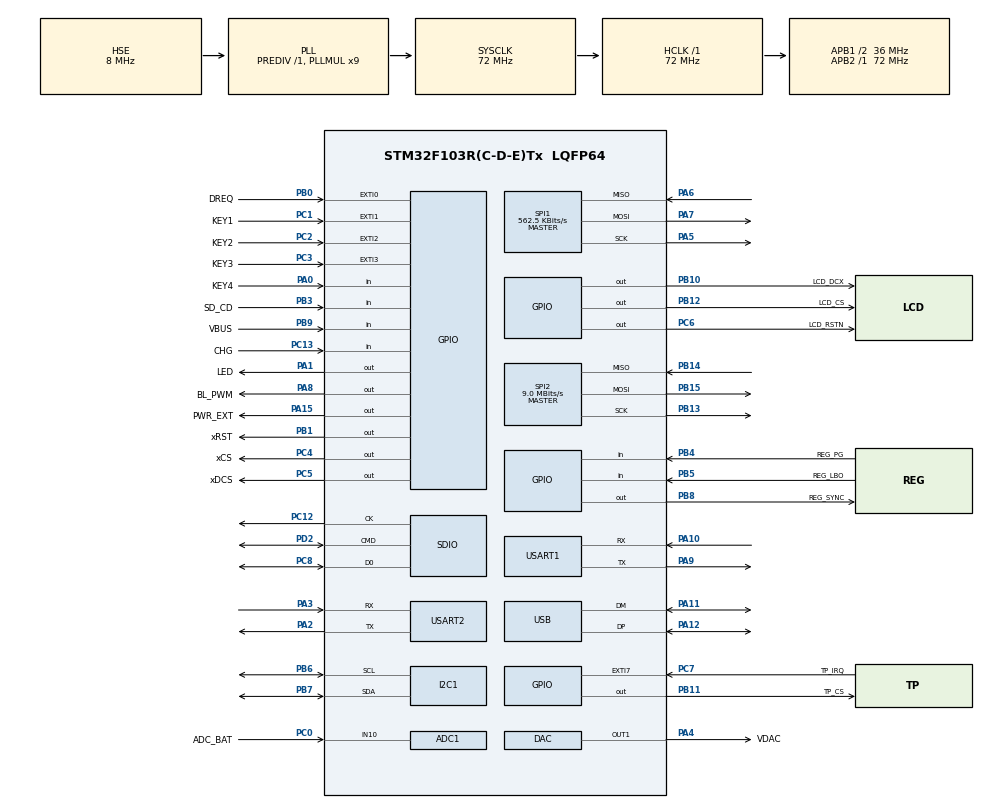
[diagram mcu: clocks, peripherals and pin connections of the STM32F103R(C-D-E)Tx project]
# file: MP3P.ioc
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ADC1.Channel-0\#ChannelRegularConversion=ADC_CHANNEL_10
ADC1.NbrOfConversionFlag=1
ADC1.Rank-0\#ChannelRegularConversion=1
ADC1.SamplingTime-0\#ChannelRegularConversion=ADC_SAMPLETIME_1CYCLE_5
ADC1.master=1
Dma.Request0=SPI1_TX
Dma.Request1=SDIO
Dma.Request2=SPI2_TX
Dma.SDIO.1.Direction=DMA_PERIPH_TO_MEMORY
Dma.SDIO.1.Instance=DMA2_Channel4
Dma.SDIO.1.MemDataAlignment=DMA_MDATAALIGN_WORD
Dma.SDIO.1.MemInc=DMA_MINC_ENABLE
Dma.SDIO.1.Mode=DMA_NORMAL
Dma.SDIO.1.PeriphDataAlignment=DMA_PDATAALIGN_WORD
Dma.SDIO.1.PeriphInc=DMA_PINC_DISABLE
Dma.SDIO.1.Priority=DMA_PRIORITY_VERY_HIGH
Dma.SPI1_TX.0.Direction=DMA_MEMORY_TO_PERIPH
Dma.SPI1_TX.0.Instance=DMA1_Channel3
Dma.SPI1_TX.0.MemDataAlignment=DMA_MDATAALIGN_BYTE
Dma.SPI1_TX.0.MemInc=DMA_MINC_ENABLE
Dma.SPI1_TX.0.Mode=DMA_NORMAL
Dma.SPI1_TX.0.PeriphDataAlignment=DMA_PDATAALIGN_BYTE
Dma.SPI1_TX.0.PeriphInc=DMA_PINC_DISABLE
Dma.SPI1_TX.0.Priority=DMA_PRIORITY_HIGH
Dma.SPI2_TX.2.Direction=DMA_MEMORY_TO_PERIPH
Dma.SPI2_TX.2.Instance=DMA1_Channel5
Dma.SPI2_TX.2.MemDataAlignment=DMA_MDATAALIGN_BYTE
Dma.SPI2_TX.2.MemInc=DMA_MINC_ENABLE
Dma.SPI2_TX.2.Mode=DMA_NORMAL
Dma.SPI2_TX.2.PeriphDataAlignment=DMA_PDATAALIGN_BYTE
Dma.SPI2_TX.2.PeriphInc=DMA_PINC_DISABLE
Dma.SPI2_TX.2.Priority=DMA_PRIORITY_MEDIUM
FATFS.BSP.number=1
FATFS._MAX_LFN=128
FATFS._USE_LFN=3
FATFS._USE_MKFS=0
FATFS0.BSP.STBoard=false
FATFS0.BSP.api=UnknownBspDriver
FATFS0.BSP.i2caddr=0
FATFS0.BSP.i2creg=0
FATFS0.BSP.instance=PB3
FATFS0.BSP.ip=GPIO
FATFS0.BSP.mode=Input
FATFS0.BSP.name=Detect_SDIO
FATFS0.BSP.solution=PB3
FREERTOS.Tasks01=defaultTask,-2,128,StartDefaultTask,Default,NULL,Dynamic,NULL,NULL
FREERTOS.configCHECK_FOR_STACK_OVERFLOW=2
FREERTOS.configTICK_RATE_HZ=100
FREERTOS.configTOTAL_HEAP_SIZE=10240
FREERTOS.configUSE_TIMERS=1
FREERTOS.configUSE_TRACE_FACILITY=1
Mcu.Family=STM32F1
Mcu.Name=STM32F103R(C-D-E)Tx
Mcu.Package=LQFP64
NVIC.DMA1_Channel3_IRQn=true\:5\:0\:true\:false\:true\:true\:false\:true
NVIC.DMA1_Channel5_IRQn=true\:5\:0\:false\:false\:true\:true\:false\:true
NVIC.DMA2_Channel4_5_IRQn=true\:5\:0\:true\:false\:true\:true\:false\:true
NVIC.EXTI0_IRQn=true\:5\:0\:true\:false\:true\:true\:true\:true
NVIC.EXTI1_IRQn=true\:10\:0\:true\:false\:true\:true\:true\:true
NVIC.EXTI2_IRQn=true\:10\:0\:true\:false\:true\:true\:true\:true
NVIC.EXTI3_IRQn=true\:10\:0\:true\:false\:true\:true\:true\:true
NVIC.PriorityGroup=NVIC_PRIORITYGROUP_4
NVIC.SDIO_IRQn=true\:5\:0\:true\:false\:true\:true\:true\:true
NVIC.TIM1_UP_IRQn=true\:0\:0\:false\:false\:true\:false\:true\:true
NVIC.TimeBase=TIM1_UP_IRQn
NVIC.TimeBaseIP=TIM1
NVIC.USB_LP_CAN1_RX0_IRQn=true\:5\:0\:true\:false\:true\:true\:false\:true
PA0-WKUP.GPIO_Label=KEY4
PA0-WKUP.GPIO_PuPd=GPIO_PULLUP
PA0-WKUP.Signal=GPIO_Input
PA1.GPIO_Label=LED
PA1.Signal=GPIO_Output
PA10.Mode=Asynchronous
PA10.Signal=USART1_RX
PA11.Mode=Device
PA11.Signal=USB_DM
PA12.Mode=Device
PA12.Signal=USB_DP
PA13.GPIO_Label=SWDIO
PA13.Mode=Serial_Wire
PA13.Signal=SYS_JTMS-SWDIO
PA14.GPIO_Label=SWCLK
PA14.Mode=Serial_Wire
PA14.Signal=SYS_JTCK-SWCLK
PA15.GPIO_Label=PWR_EXT
PA15.Signal=GPIO_Output
PA2.Mode=Asynchronous
PA2.Signal=USART2_TX
PA3.Mode=Asynchronous
PA3.Signal=USART2_RX
PA4.GPIO_Label=VDAC
PA4.Signal=COMP_DAC1_group
PA5.Mode=Full_Duplex_Master
PA5.Signal=SPI1_SCK
PA6.Mode=Full_Duplex_Master
PA6.Signal=SPI1_MISO
PA7.Mode=Full_Duplex_Master
PA7.Signal=SPI1_MOSI
PA8.GPIO_Label=BL_PWM
PA8.Signal=GPIO_Output
PA9.Mode=Asynchronous
PA9.Signal=USART1_TX
PB0.GPIO_Label=DREQ
PB0.Signal=GPXTI0
PB1.GPIO_Label=xRST
PB1.Signal=GPIO_Output
PB10.GPIO_Label=LCD_DCX
PB10.Signal=GPIO_Output
PB11.GPIO_Label=TP_CS
PB11.Signal=GPIO_Output
PB12.GPIO_Label=LCD_CS
PB12.Signal=GPIO_Output
PB13.Mode=Full_Duplex_Master
PB13.Signal=SPI2_SCK
PB14.Mode=Full_Duplex_Master
PB14.Signal=SPI2_MISO
PB15.Mode=Full_Duplex_Master
PB15.Signal=SPI2_MOSI
PB3.GPIO_Label=SD_CD
PB3.GPIO_PuPd=GPIO_PULLUP
PB3.Signal=GPIO_Input
PB4.GPIO_Label=REG_PG
PB4.GPIO_PuPd=GPIO_PULLUP
PB4.Signal=GPIO_Input
PB5.GPIO_Label=REG_LBO
PB5.GPIO_PuPd=GPIO_PULLUP
PB5.Signal=GPIO_Input
PB6.Mode=I2C
PB6.Signal=I2C1_SCL
PB7.Mode=I2C
PB7.Signal=I2C1_SDA
PB8.GPIO_Label=REG_SYNC
PB8.Signal=GPIO_Output
PB9.GPIO_Label=VBUS
PB9.GPIO_PuPd=GPIO_NOPULL
PB9.Signal=GPIO_Input
PC0.GPIO_Label=ADC_BAT
PC0.Signal=ADCx_IN10
PC1.GPIO_Label=KEY1
PC1.GPIO_ModeDefaultEXTI=GPIO_MODE_IT_FALLING
PC1.GPIO_PuPd=GPIO_PULLUP
PC1.Signal=GPXTI1
PC12.Mode=SD_1_bit
PC12.Signal=SDIO_CK
PC13-TAMPER-RTC.GPIO_Label=CHG
PC13-TAMPER-RTC.GPIO_PuPd=GPIO_PULLUP
PC13-TAMPER-RTC.Signal=GPIO_Input
PC14-OSC32_IN.Mode=LSE-External-Oscillator
PC14-OSC32_IN.Signal=RCC_OSC32_IN
PC15-OSC32_OUT.Mode=LSE-External-Oscillator
PC15-OSC32_OUT.Signal=RCC_OSC32_OUT
PC2.GPIO_Label=KEY2
PC2.GPIO_ModeDefaultEXTI=GPIO_MODE_IT_FALLING
PC2.GPIO_PuPd=GPIO_PULLUP
PC2.Signal=GPXTI2
PC3.GPIO_Label=KEY3
PC3.GPIO_ModeDefaultEXTI=GPIO_MODE_IT_FALLING
PC3.GPIO_PuPd=GPIO_PULLUP
PC3.Signal=GPXTI3
PC4.GPIO_Label=xCS
PC4.PinState=GPIO_PIN_SET
PC4.Signal=GPIO_Output
PC5.GPIO_Label=xDCS
PC5.PinState=GPIO_PIN_SET
PC5.Signal=GPIO_Output
PC6.GPIO_Label=LCD_RSTN
PC6.Signal=GPIO_Output
PC7.GPIO_Label=TP_IRQ
PC7.GPIO_ModeDefaultEXTI=GPIO_MODE_IT_FALLING
PC7.GPIO_PuPd=GPIO_PULLUP
PC7.Signal=GPXTI7
PC8.Mode=SD_1_bit
PC8.Signal=SDIO_D0
PD0-OSC_IN.Mode=HSE-External-Oscillator
PD0-OSC_IN.Signal=RCC_OSC_IN
PD1-OSC_OUT.Mode=HSE-External-Oscillator
PD1-OSC_OUT.Signal=RCC_OSC_OUT
PD2.Mode=SD_1_bit
PD2.Signal=SDIO_CMD
ProjectManager.HeapSize=0x400
ProjectManager.StackSize=0x800
ProjectManager.TargetToolchain=MDK-ARM V5.27
RCC.ADCPresc=RCC_ADCPCLK2_DIV6
RCC.AHBFreq_Value=72000000
RCC.APB1CLKDivider=RCC_HCLK_DIV2
RCC.APB1Freq_Value=36000000
RCC.APB1TimFreq_Value=72000000
RCC.APB2Freq_Value=72000000
RCC.APB2TimFreq_Value=72000000
RCC.HCLKFreq_Value=72000000
RCC.PLLMUL=RCC_PLL_MUL9
RCC.PLLSourceVirtual=RCC_PLLSOURCE_HSE
RCC.SYSCLKFreq_VALUE=72000000
RCC.SYSCLKSource=RCC_SYSCLKSOURCE_PLLCLK
RCC.USBFreq_Value=48000000
RCC.USBPrescaler=RCC_USBCLKSOURCE_PLL_DIV1_5
SDIO.ClockDiv=8
SH.ADCx_IN10.0=ADC1_IN10,IN10
SH.COMP_DAC1_group.0=DAC_OUT1,DAC_OUT1
SPI1.BaudRatePrescaler=SPI_BAUDRATEPRESCALER_128
SPI1.CalculateBaudRate=562.5 KBits/s
SPI1.Direction=SPI_DIRECTION_2LINES
SPI1.Mode=SPI_MODE_MASTER
SPI1.VirtualType=VM_MASTER
SPI2.BaudRatePrescaler=SPI_BAUDRATEPRESCALER_4
SPI2.CalculateBaudRate=9.0 MBits/s
SPI2.Direction=SPI_DIRECTION_2LINES
SPI2.Mode=SPI_MODE_MASTER
SPI2.VirtualType=VM_MASTER
USART1.VirtualMode=VM_ASYNC
USART2.VirtualMode=VM_ASYNC
USB_DEVICE.CLASS_NAME_FS=MSC
USB_DEVICE.VirtualMode=Msc
USB_DEVICE.VirtualModeFS=Msc_FS
VP_CRC_VS_CRC.Mode=CRC_Activate
VP_FATFS_VS_SDIO.Mode=SDIO
VP_FREERTOS_VS_CMSIS_V1.Mode=CMSIS_V1
VP_SYS_VS_tim1.Mode=TIM1
VP_USB_DEVICE_VS_USB_DEVICE_MSC_FS.Mode=MSC_FS
board=MP3P

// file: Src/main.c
/* USER CODE BEGIN Header */
/**
  ******************************************************************************
  * @file           : main.c
  * @brief          : Main program body
  ******************************************************************************
  * @attention
  *
  * <h2><center>&copy; Copyright (c) 2020 STMicroelectronics.
  * All rights reserved.</center></h2>
  *
  * This software component is licensed by ST under Ultimate Liberty license
  * SLA0044, the "License"; You may not use this file except in compliance with
  * the License. You may obtain a copy of the License at:
  *                             www.st.com/SLA0044
  *
  ******************************************************************************
  */
/* USER CODE END Header */
#include "main.h"
#include "cmsis_os.h"
#include "adc.h"
#include "crc.h"
#include "dac.h"
#include "dma.h"
#include "fatfs.h"
#include "i2c.h"
#include "sdio.h"
#include "spi.h"
#include "usart.h"
#include "usb_device.h"
#include "gpio.h"

/* USER CODE BEGIN Includes */
#include "vs10xx.h"
#include "misc_fatfs.h"
#include <string.h>
#include <stdio.h>
#include "ili9340.h"
#include "WM.h"
#include "mp3_player.h"
#include "debug.h"
/* USER CODE END Includes */

/* USER CODE BEGIN PV */
extern volatile GUI_TIMER_TIME 	OS_TimeMS;
/* USER CODE END PV */

void SystemClock_Config(void);
void MX_FREERTOS_Init(void);

int main(void)
{

  /* MCU Configuration--------------------------------------------------------*/

  /* Reset of all peripherals, Initializes the Flash interface and the Systick. */
  HAL_Init();

  /* Configure the system clock */
  SystemClock_Config();

  /* USER CODE BEGIN SysInit */
#if (configUSE_TRACE_FACILITY == 1)
	vTraceEnable(TRC_START);
#endif
  /* USER CODE END SysInit */

  /* Initialize all configured peripherals */
  MX_GPIO_Init();
  MX_DMA_Init();
  MX_USART2_UART_Init();
  MX_DAC_Init();
  MX_SPI1_Init();
  MX_ADC1_Init();
  MX_SDIO_SD_Init();
  MX_I2C1_Init();
  MX_SPI2_Init();
  MX_FATFS_Init();
  MX_CRC_Init();
  MX_USART1_UART_Init();
  /* USER CODE BEGIN 2 */
	HAL_NVIC_SetPriorityGrouping(NVIC_PRIORITYGROUP_4);
	vsmp3_init(NULL);
  /* USER CODE END 2 */

  /* Call init function for freertos objects (in freertos.c) */
  MX_FREERTOS_Init();
  /* Start scheduler */
  osKernelStart();

  /* We should never get here as control is now taken by the scheduler */
  /* Infinite loop */
  while (1)
  {

  }
}

void SystemClock_Config(void)
{
  RCC_OscInitTypeDef RCC_OscInitStruct = {0};
  RCC_ClkInitTypeDef RCC_ClkInitStruct = {0};
  RCC_PeriphCLKInitTypeDef PeriphClkInit = {0};

  /** Initializes the RCC Oscillators according to the specified parameters
  * in the RCC_OscInitTypeDef structure.
  */
  RCC_OscInitStruct.OscillatorType = RCC_OSCILLATORTYPE_HSE;
  RCC_OscInitStruct.HSEState = RCC_HSE_ON;
  RCC_OscInitStruct.HSEPredivValue = RCC_HSE_PREDIV_DIV1;
  RCC_OscInitStruct.HSIState = RCC_HSI_ON;
  RCC_OscInitStruct.PLL.PLLState = RCC_PLL_ON;
  RCC_OscInitStruct.PLL.PLLSource = RCC_PLLSOURCE_HSE;
  RCC_OscInitStruct.PLL.PLLMUL = RCC_PLL_MUL9;
  if (HAL_RCC_OscConfig(&RCC_OscInitStruct) != HAL_OK)
  {
    Error_Handler();
  }
  /** Initializes the CPU, AHB and APB buses clocks
  */
  RCC_ClkInitStruct.ClockType = RCC_CLOCKTYPE_HCLK|RCC_CLOCKTYPE_SYSCLK
                              |RCC_CLOCKTYPE_PCLK1|RCC_CLOCKTYPE_PCLK2;
  RCC_ClkInitStruct.SYSCLKSource = RCC_SYSCLKSOURCE_PLLCLK;
  RCC_ClkInitStruct.AHBCLKDivider = RCC_SYSCLK_DIV1;
  RCC_ClkInitStruct.APB1CLKDivider = RCC_HCLK_DIV2;
  RCC_ClkInitStruct.APB2CLKDivider = RCC_HCLK_DIV1;

  if (HAL_RCC_ClockConfig(&RCC_ClkInitStruct, FLASH_LATENCY_2) != HAL_OK)
  {
    Error_Handler();
  }
  PeriphClkInit.PeriphClockSelection = RCC_PERIPHCLK_ADC|RCC_PERIPHCLK_USB;
  PeriphClkInit.AdcClockSelection = RCC_ADCPCLK2_DIV6;
  PeriphClkInit.UsbClockSelection = RCC_USBCLKSOURCE_PLL_DIV1_5;
  if (HAL_RCCEx_PeriphCLKConfig(&PeriphClkInit) != HAL_OK)
  {
    Error_Handler();
  }
}

 /**
  * @brief  Period elapsed callback in non blocking mode
  * @note   This function is called  when TIM1 interrupt took place, inside
  * HAL_TIM_IRQHandler(). It makes a direct call to HAL_IncTick() to increment
  * a global variable "uwTick" used as application time base.
  * @param  htim : TIM handle
  * @retval None
  */
void HAL_TIM_PeriodElapsedCallback(TIM_HandleTypeDef *htim)
{
  if (htim->Instance == TIM1) {
    HAL_IncTick();
  }
  /* USER CODE BEGIN Callback 1 */
	if (htim->Instance == TIM1) {
    OS_TimeMS++;
  }
  /* USER CODE END Callback 1 */
}

void Error_Handler(void)
{
  /* USER CODE BEGIN Error_Handler_Debug */
  /* User can add his own implementation to report the HAL error return state */
	debug_print("error-handler:\r\n");
  /* USER CODE END Error_Handler_Debug */
}

/************************ (C) COPYRIGHT STMicroelectronics *****END OF FILE****/

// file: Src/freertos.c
/* USER CODE BEGIN Header */
/**
  ******************************************************************************
  * File Name          : freertos.c
  * Description        : Code for freertos applications
  ******************************************************************************
  * @attention
  *
  * <h2><center>&copy; Copyright (c) 2020 STMicroelectronics.
  * All rights reserved.</center></h2>
  *
  * This software component is licensed by ST under Ultimate Liberty license
  * SLA0044, the "License"; You may not use this file except in compliance with
  * the License. You may obtain a copy of the License at:
  *                             www.st.com/SLA0044
  *
  ******************************************************************************
  */
/* USER CODE END Header */

#include "FreeRTOS.h"
#include "task.h"
#include "main.h"
#include "cmsis_os.h"

/* USER CODE BEGIN Includes */
#include "vs10xx.h"
#include "spi.h"
#include <stdio.h>
#include "fatfs.h"
#include "GUI.h"
/* USER CODE END Includes */

osThreadId defaultTaskHandle;

void StartDefaultTask(void const * argument);

extern void MX_USB_DEVICE_Init(void);
void MX_FREERTOS_Init(void); /* (MISRA C 2004 rule 8.1) */

/* GetIdleTaskMemory prototype (linked to static allocation support) */
void vApplicationGetIdleTaskMemory( StaticTask_t **ppxIdleTaskTCBBuffer, StackType_t **ppxIdleTaskStackBuffer, uint32_t *pulIdleTaskStackSize );

/* GetTimerTaskMemory prototype (linked to static allocation support) */
void vApplicationGetTimerTaskMemory( StaticTask_t **ppxTimerTaskTCBBuffer, StackType_t **ppxTimerTaskStackBuffer, uint32_t *pulTimerTaskStackSize );

/* Hook prototypes */
void vApplicationStackOverflowHook(xTaskHandle xTask, signed char *pcTaskName);

/* USER CODE BEGIN 4 */
__weak void vApplicationStackOverflowHook(xTaskHandle xTask, signed char *pcTaskName)
{
   /* Run time stack overflow checking is performed if
   configCHECK_FOR_STACK_OVERFLOW is defined to 1 or 2. This hook function is
   called if a stack overflow is detected. */
}
/* USER CODE END 4 */

/* USER CODE BEGIN GET_IDLE_TASK_MEMORY */
static StaticTask_t xIdleTaskTCBBuffer;
static StackType_t xIdleStack[configMINIMAL_STACK_SIZE];

void vApplicationGetIdleTaskMemory( StaticTask_t **ppxIdleTaskTCBBuffer, StackType_t **ppxIdleTaskStackBuffer, uint32_t *pulIdleTaskStackSize )
{
  *ppxIdleTaskTCBBuffer = &xIdleTaskTCBBuffer;
  *ppxIdleTaskStackBuffer = &xIdleStack[0];
  *pulIdleTaskStackSize = configMINIMAL_STACK_SIZE;
  /* place for user code */
}
/* USER CODE END GET_IDLE_TASK_MEMORY */

/* USER CODE BEGIN GET_TIMER_TASK_MEMORY */
static StaticTask_t xTimerTaskTCBBuffer;
static StackType_t xTimerStack[configTIMER_TASK_STACK_DEPTH];

void vApplicationGetTimerTaskMemory( StaticTask_t **ppxTimerTaskTCBBuffer, StackType_t **ppxTimerTaskStackBuffer, uint32_t *pulTimerTaskStackSize )
{
  *ppxTimerTaskTCBBuffer = &xTimerTaskTCBBuffer;
  *ppxTimerTaskStackBuffer = &xTimerStack[0];
  *pulTimerTaskStackSize = configTIMER_TASK_STACK_DEPTH;
  /* place for user code */
}
/* USER CODE END GET_TIMER_TASK_MEMORY */

void MX_FREERTOS_Init(void) {

  /* Create the thread(s) */
  /* definition and creation of defaultTask */
  osThreadDef(defaultTask, StartDefaultTask, osPriorityLow, 0, 128);
  defaultTaskHandle = osThreadCreate(osThread(defaultTask), NULL);

}

void StartDefaultTask(void const * argument)
{
  /* init code for USB_DEVICE */
  MX_USB_DEVICE_Init();
  for(;;)
  {
    osDelay(1);
  }
}

/************************ (C) COPYRIGHT STMicroelectronics *****END OF FILE****/
